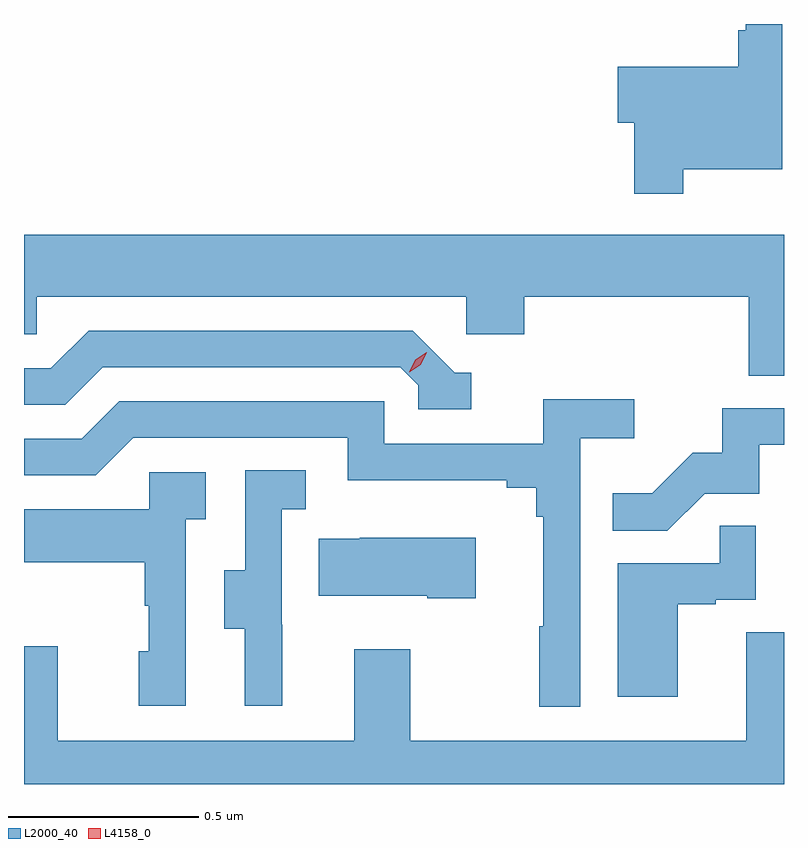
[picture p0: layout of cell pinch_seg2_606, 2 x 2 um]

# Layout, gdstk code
import gdstk
lib = gdstk.Library(unit=1e-6, precision=1e-09)
def P(c, l, *ps):  # polygons
    for p in ps: c.add(gdstk.Polygon(p, *l))
L2000_40 = (2000, 40)
L4158_0 = (4158, 0)

pinch_seg2_606 = lib.new_cell('pinch_seg2_606')
P(pinch_seg2_606, L2000_40, [(1058.179,618.668),(1058.44,618.668),(1058.44,619.05),(1058.343,619.05),(1058.343,619.033),(1058.323,619.033),(1058.323,618.937),(1058.006,618.937),(1058.006,618.79),(1058.05,618.79),(1058.05,618.603),(1058.179,618.603)],
  [(1058.444,618.496),(1056.444,618.496),(1056.444,618.234),(1056.477,618.234),(1056.477,618.332),(1057.608,618.332),(1057.608,618.234),(1057.76,618.234),(1057.76,618.332),(1058.351,618.332),(1058.351,618.124),(1058.444,618.124)],
  [(1057.621,618.132),(1057.578,618.132),(1057.467,618.243),(1056.614,618.243),(1056.515,618.144),(1056.444,618.144),(1056.444,618.048),(1056.552,618.048),(1056.651,618.147),(1057.434,618.147),(1057.482,618.099),(1057.482,618.036),(1057.621,618.036)],
  [(1057.908,617.96),(1058.05,617.96),(1058.05,618.062),(1057.811,618.062),(1057.811,617.946),(1057.392,617.946),(1057.392,618.057),(1056.695,618.057),(1056.596,617.958),(1056.444,617.958),(1056.444,617.862),(1056.633,617.862),(1056.732,617.961),(1057.296,617.961),(1057.296,617.849),(1057.715,617.849),(1057.715,617.83),(1057.792,617.83),(1057.792,617.753),(1057.811,617.753),(1057.811,617.465),(1057.8,617.465),(1057.8,617.253),(1057.908,617.253)],
  [(1058.235,617.814),(1058.379,617.814),(1058.379,617.943),(1058.444,617.943),(1058.444,618.039),(1058.281,618.039),(1058.281,617.922),(1058.204,617.922),(1058.097,617.815),(1057.993,617.815),(1057.993,617.716),(1058.137,617.716)],
  [(1057.124,617.469),(1057.122,617.469),(1057.122,617.773),(1057.186,617.773),(1057.186,617.876),(1057.026,617.876),(1057.026,617.613),(1056.971,617.613),(1056.971,617.458),(1057.025,617.458),(1057.025,617.256),(1057.124,617.256)],
  [(1056.87,617.747),(1056.922,617.747),(1056.922,617.871),(1056.774,617.871),(1056.774,617.773),(1056.444,617.773),(1056.444,617.633),(1056.762,617.633),(1056.762,617.519),(1056.772,617.519),(1056.772,617.4),(1056.746,617.4),(1056.746,617.256),(1056.87,617.256)],
  [(1058.164,617.523),(1058.264,617.523),(1058.264,617.535),(1058.37,617.535),(1058.37,617.729),(1058.275,617.729),(1058.275,617.631),(1058.006,617.631),(1058.006,617.28),(1058.164,617.28)],
  [(1057.633,617.698),(1057.327,617.698),(1057.327,617.695),(1057.219,617.695),(1057.219,617.546),(1057.505,617.546),(1057.505,617.539),(1057.633,617.539)],
  [(1058.444,617.45),(1058.345,617.45),(1058.345,617.164),(1057.461,617.164),(1057.461,617.404),(1057.313,617.404),(1057.313,617.164),(1056.533,617.164),(1056.533,617.413),(1056.444,617.413),(1056.444,617.05),(1058.444,617.05)])
P(pinch_seg2_606, L4158_0, [(1057.458,618.133),(1057.458,618.134),(1057.473,618.166),(1057.504,618.186),(1057.504,618.186),(1057.504,618.186),(1057.488,618.153),(1057.458,618.133)])

lib.write_gds('pinch_seg2_606.gds')
